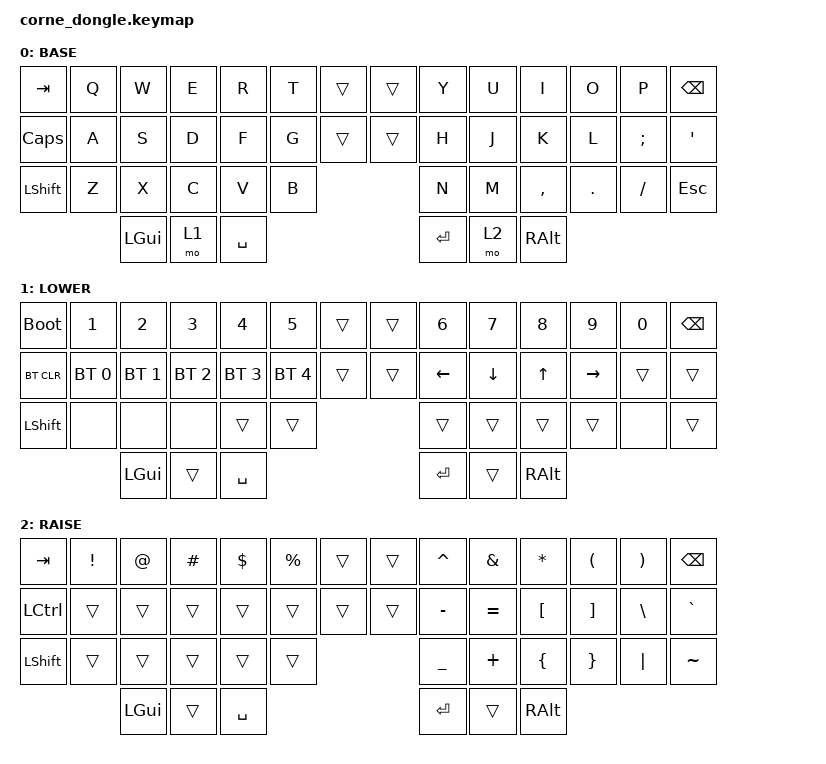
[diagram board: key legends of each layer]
/*
 * Copyright (c) 2020 The ZMK Contributors
 *
 * SPDX-License-Identifier: MIT
 */

#include <behaviors.dtsi>
#include <behaviors/runtime_macro.dtsi>
#include <behaviors/runtime-sensor-rotate.dtsi>
#include <dt-bindings/zmk/keys.h>
#include <dt-bindings/zmk/pointing.h>
#include <dt-bindings/zmk/bt.h>
#include <dt-bindings/zmk/rgb.h> // add support for RGB Underglow @20260910 by TY

// ms2 dongle has no RGB output: old RGB actions are inert &none placeholders.
//updated keymap for 7 column layout @20260910 By TY
/ {
        behaviors {
            rsr_vol: rsr_vol {
                compatible = "zmk,behavior-runtime-sensor-rotate";
                #sensor-binding-cells = <0>;
                tap-ms = <25>;
                cw-binding = <&kp C_VOL_UP>;
                ccw-binding = <&kp C_VOL_DN>;
            };
            rsr_scroll: rsr_scroll {
                compatible = "zmk,behavior-runtime-sensor-rotate";
                #sensor-binding-cells = <0>;
                tap-ms = <25>;
                cw-binding = <&msc SCRL_DOWN>;
                ccw-binding = <&msc SCRL_UP>;
            };
        };
        keymap {
                compatible = "zmk,keymap";

                default_layer {
                        display-name = "BASE";
// -----------------------------------------------------------------------------------------
// |  TAB |  Q  |  W  |  E  |  R  |  T  |     |   |     |  Y  |  U   |  I  |  O  |  P  | BSPC |
// | CAPS |  A  |  S  |  D  |  F  |  G  |     |   |     |  H  |  J   |  K  |  L  |  ;  |  '   |
// | SHFT |  Z  |  X  |  C  |  V  |  B  |               |  N  |  M   |  ,  |  .  |  /  | ESC  |
//                       | GUI | LWR | SPC |          | ENT | RSE  | ALT |
                        bindings = <
&kp TAB   &kp Q &kp W &kp E &kp R &kp T  &trans    &trans &kp Y &kp U  &kp I     &kp O   &kp P    &kp BSPC
&kp CAPS  &kp A &kp S &kp D &kp F &kp G  &trans    &trans &kp H &kp J  &kp K     &kp L   &kp SEMI &kp SQT
&kp LSHFT &kp Z &kp X &kp C &kp V &kp B                   &kp N &kp M  &kp COMMA &kp DOT &kp FSLH &kp ESC
                  &kp LGUI &mo 1 &kp SPACE             &kp RET &mo 2 &kp RALT
                        >;
                };
                lower_layer {
                        display-name = "LOWER";
// -----------------------------------------------------------------------------------------
// |  BL  |  1    |  2    |  3    |  4  |  5  |     |   |     |  6  |  7  |  8  |  9  |  0    | BSPC |
// | BTCLR| BT1   | BT2   | BT3   | BT4 | BT5 |     |   |     | LFT | DWN |  UP | RGT |       |      |
// | SHFT |RGB_TOG|RGB_EFR|RGB_EFF|     |     |               |     |     |     |     |RGB_TOG|      |
//                                | GUI |     | SPC |   | ENT |     | ALT |
                        bindings = <
&bootloader &kp N1          &kp N2          &kp N3          &kp N4       &kp N5          &trans       &trans   &kp N6   &kp N7   &kp N8 &kp N9    &kp N0           &kp BSPC
&bt BT_CLR  &bt BT_SEL 0    &bt BT_SEL 1    &bt BT_SEL 2    &bt BT_SEL 3 &bt BT_SEL 4    &trans       &trans   &kp LEFT &kp DOWN &kp UP &kp RIGHT &trans           &trans
&kp LSHFT   &none &none &none &trans       &trans                                &trans   &trans   &trans &trans    &none  &trans
                                                &kp LGUI     &trans          &kp SPACE                      &kp RET  &trans   &kp RALT
                        >;
                };

                raise_layer {
                        display-name = "RAISE";
// -----------------------------------------------------------------------------------------
// |  TAB |  !  |  @  |  #  |  $  |  %  |     |   |     |  ^  |  &  |  *  |  (  |  )  | BSPC |
// | CTRL |     |     |     |     |     |     |   |     |  -  |  =  |  [  |  ]  |  \  |  `   |
// | SHFT |     |     |     |     |     |               |  _  |  +  |  {  |  }  | "|" |  ~   |
//                          | GUI |     | SPC |   | ENT |     | ALT |
                        bindings = <
&kp  TAB  &kp EXCL &kp AT &kp HASH &kp DLLR &kp PRCNT &trans   &trans  &kp CARET &kp AMPS  &kp ASTRK &kp LPAR &kp RPAR &kp BSPC
&kp LCTRL &trans   &trans &trans   &trans   &trans    &trans   &trans  &kp MINUS &kp EQUAL &kp LBKT  &kp RBKT &kp BSLH &kp GRAVE
&kp LSHFT &trans   &trans &trans   &trans   &trans                     &kp UNDER &kp PLUS  &kp LBRC  &kp RBRC &kp PIPE &kp TILDE
                           &kp LGUI &trans   &kp SPACE               &kp RET &trans    &kp RALT
                        >;
                };
        };
};
